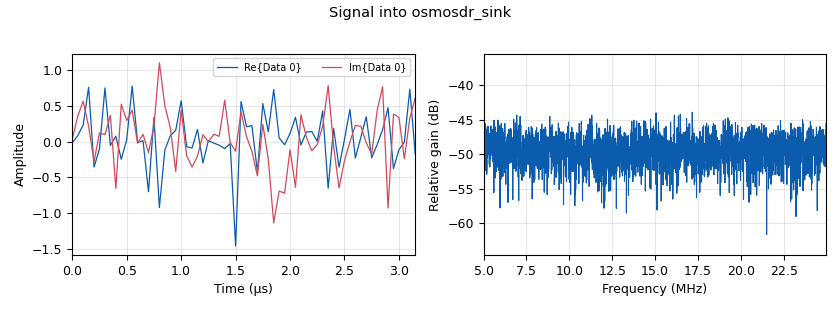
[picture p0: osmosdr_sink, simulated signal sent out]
options:
  parameters:
    author: otpisani
    generate_options: qt_gui
    id: gauss_jamming_10MHz_testni_fast_noise
    max_nouts: '10'
    output_language: python
    run_options: run
    title: gauss_jamming_10MHz_testni_fast_noise
  states: {}

blocks:
- name: freq_0
  id: variable_qtgui_range
  parameters:
    start: 0.0e6
    step: '1000'
    stop: 30.0e6
    value: 15.0e6
    widget: dial
  states: {state: disabled}
- name: samp_rate
  id: variable
  parameters:
    value: 20.0e6
  states: {}
- name: analog_fastnoise_source_x_0
  id: analog_fastnoise_source_x
  parameters:
    amp: '1'
    noise_type: analog.GR_UNIFORM
    samples: '8192'
    seed: '0'
    type: complex
  states: {}
- name: analog_fastnoise_source_x_0_0
  id: analog_fastnoise_source_x
  parameters:
    amp: '1'
    noise_type: analog.GR_GAUSSIAN
    samples: '8192'
    seed: '0'
    type: complex
  states: {}
- name: blocks_multiply_xx_0
  id: blocks_multiply_xx
  parameters:
    type: complex
  states: {}
- name: freq_sink
  id: qtgui_freq_sink_x
  parameters:
    autoscale: 'True'
    bw: 28.0e6
    fc: freq_0
    fftsize: '2048'
    grid: 'True'
    norm_window: 'True'
    tr_mode: qtgui.TRIG_MODE_AUTO
    type: complex
    wintype: window.WIN_KAISER
  states: {state: disabled}
- name: osmosdr_sink
  id: osmosdr_sink
  parameters:
    args: driver=hackrf
    bb_gain0: '0'
    bw0: 28.0e6
    freq0: 15.0e6
    gain0: '14'
    if_gain0: '47'
    sample_rate: samp_rate
    sync: none
    type: fc32
  states: {}

connections:
- [analog_fastnoise_source_x_0, '0', blocks_multiply_xx_0, '0']
- [analog_fastnoise_source_x_0_0, '0', blocks_multiply_xx_0, '1']
- [blocks_multiply_xx_0, '0', osmosdr_sink, '0']

metadata:
  file_format: 1
  grc_version: 3.10.7.0
